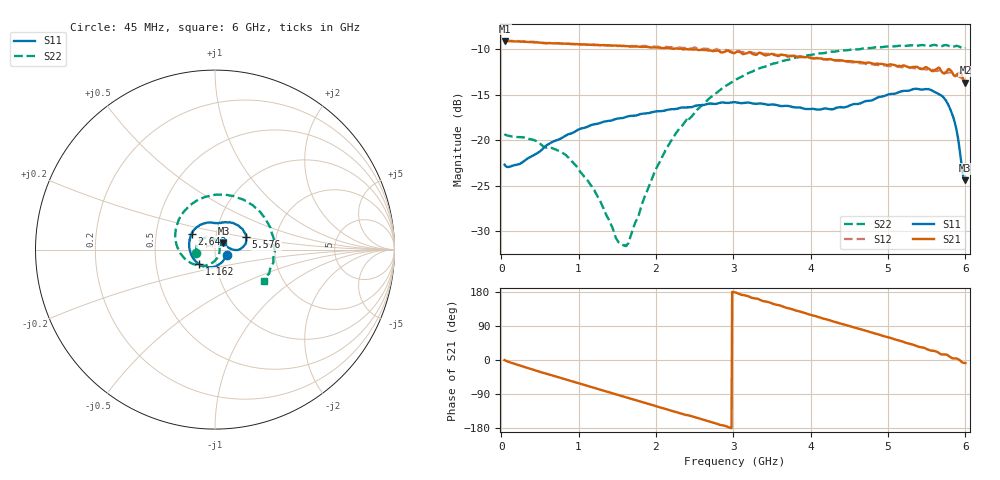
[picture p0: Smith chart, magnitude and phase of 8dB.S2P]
! C:\Users\Aljaz\OneDrive - Univerza v Ljubljani\DOKTORAT\NOVI SA\Slabilec PE43711B\meritve\8dB.S2P
! Touchstone 1.1 file saved by VNA.EXE V1.65 (www.ke5fx.com/gpib/readme.htm)
! 2. 04. 2022 19:14:08
!  Source: HP8510C.07.14: Aug 26  1998
!  Min freq: 4.500000E+007 Hz
!  Max freq: 6.000000E+009 Hz
!  Points: 801
!  Params: S11 S21 S12 S22
# GHZ S DB R 50
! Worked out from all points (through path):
!   801 points, 45 MHz to 6 GHz, reference 50 ohm
!   highest |S21| = -9.11 dB at 52.44 MHz (marker M1); lowest = -13.7 dB at 6 GHz (marker M2)
!   group delay of S21, straight-line fit = 167 ps
!   lowest |S11| = -24.4 dB at 5.993 GHz (marker M3), VSWR 1.13, Z = 54.8 + j4.09 ohm
!   |S11| at or under -10 dB: start of sweep to end of sweep
!   |S22| runs from -31.7 to -9.5 dB; largest |S21 - S12| = 0.017
!   S11 on the Smith chart (normalised r, x): 45 MHz: 1.14, -0.07; 1.162 GHz: 0.83, -0.14; 2.643 GHz: 0.76, +0.13; 5.576 GHz: 1.40, +0.20; 6 GHz: 1.09, +0.09
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0.045  -22.70 -23.0  -9.12 -0.3  -9.05 -0.3  -19.31 -168.6
0.05244375  -22.80 -22.1  -9.11 -1.2  -9.04 -1.2  -19.40 -171.1
0.2459813  -22.59 -44.6  -9.16 -15.0  -9.11 -15.1  -19.66 167.0
0.7670438  -19.84 -106.8  -9.37 -47.2  -9.36 -47.2  -21.28 129.4
1.042463  -18.69 -128.8  -9.48 -63.8  -9.50 -63.8  -23.66 105.9
1.161563  -18.37 -137.9  -9.52 -71.0  -9.53 -70.8  -24.97 92.7
1.503975  -17.62 -158.9  -9.61 -91.8  -9.66 -91.1  -31.04 28.1
1.608188  -17.47 -164.8  -9.66 -98.1  -9.65 -97.5  -31.61 -8.9
2.032481  -16.82 175.0  -9.80 -123.7  -9.72 -123.3  -22.65 -100.6
2.278125  -16.55 163.2  -9.91 -138.4  -9.84 -137.8  -19.04 -125.3
2.642869  -16.09 146.5  -10.07 -159.5  -9.94 -159.5  -15.79 -156.1
3.0225  -15.82 129.2  -10.40 178.6  -10.28 178.0  -13.40 174.3
3.4989  -16.08 107.9  -10.51 149.5  -10.52 149.1  -11.63 139.9
4.019963  -16.56 90.3  -11.00 118.1  -10.92 117.4  -10.60 104.6
4.541025  -16.07 75.1  -11.36 87.1  -11.45 86.8  -10.01 70.8
5.009981  -14.97 56.2  -11.71 59.7  -11.86 59.8  -9.69 39.9
5.575706  -14.58 21.6  -12.41 24.5  -12.28 24.9  -9.57 -0.1
5.717137  -15.29 10.1  -12.63 14.6  -12.51 15.5  -9.60 -10.9
5.82135  -16.97 1.4  -12.45 5.7  -12.60 8.2  -9.74 -18.3
5.8809  -18.69 -1.2  -12.87 4.1  -12.90 3.8  -9.64 -23.2
5.992556  -24.42 38.1  -13.62 -7.9  -13.52 -4.9  -9.90 -31.8
6  -24.24 44.5  -13.68 -8.0  -13.57 -5.5  -9.86 -32.5
